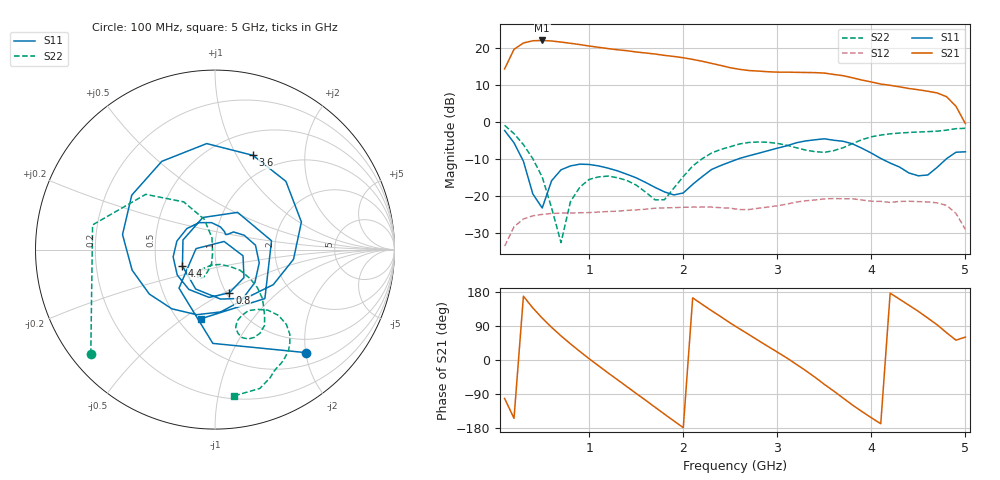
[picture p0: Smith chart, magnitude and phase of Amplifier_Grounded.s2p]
! Touchstone file from project Amplifier
! Exported from Circuit Design 2018.0.0
! Variables:
!  $width = 2.99067mm
# GHZ S MA R 50.000000
! Modal data exported
! Port[1] = Port1
! Port[2] = Port2
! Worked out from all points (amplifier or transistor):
!   50 points, 100 MHz to 5 GHz, reference 50 ohm
!   highest |S21| = 22.1 dB at 500 MHz (marker M1)
!   |S21| within 3 dB of that: 188.9 MHz to 1.463 GHz (1.274 GHz wide, 154 % of centre)
!   unconditionally stable (mu >= 1): start of sweep to end of sweep
!   at 900 MHz: K = 1.05, MAG = 21.5 dB, |S12| = -24.6 dB
!   at 2.6 GHz: K = 1.24, MAG = 16.1 dB, |S12| = -23.8 dB
!   at 5 GHz: K = 3.92, MAG = 5.5 dB, |S12| = -29.1 dB
!   S11 on the Smith chart (normalised r, x): 100 MHz: 0.72, -2.01; 800 MHz: 1.03, -0.53; 3.6 GHz: 0.76, +1.17; 4.4 GHz: 0.68, -0.13; 5 GHz: 0.64, -0.59
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0.1  0.7671 -48.5  5.268 -101.5  0.02066 87.2  0.9039 -140.0
! Port Impedance50 0 50 0
0.2  0.5227 -91.3  9.706 -154.0  0.03785 42.6  0.6958 168.6
0.3  0.2937 -133.1  11.83 168.4  0.04832 12.5  0.4937 141.4
0.4  0.1058 177.0  12.69 137.4  0.05335 -10.6  0.3176 123.2
0.5  0.06811 41.7  12.81 110.5  0.05576 -30.3  0.1794 109.5
0.6  0.1599 -12.5  12.6 86.1  0.05738 -48.0  0.06793 104.3
0.8  0.2535 -71.6  11.72 42.7  0.05843 -78.7  0.08301 -103.6
1  0.2655 -123.3  10.76 3.2  0.05911 -106.2  0.1666 -112.4
1.2  0.2368 -170.0  9.93 -34.0  0.06106 -132.9  0.1846 -120.7
1.4  0.1957 143.2  9.305 -70.3  0.06325 -159.5  0.161 -125.3
1.6  0.1513 97.1  8.653 -106.3  0.06561 174.1  0.1117 -117.7
1.8  0.1126 61.3  8.034 -142.9  0.06846 145.7  0.08826 -69.3
2  0.109 50.6  7.456 -178.6  0.06972 116.9  0.1815 -39.4
2.2  0.181 26.3  6.692 147.0  0.07004 89.8  0.3168 -41.9
2.6  0.3211 -63.3  5.189 82.1  0.06476 38.6  0.5048 -56.9
3  0.4419 -145.9  4.76 20.9  0.07304 -11.1  0.5133 -72.9
3.4  0.5742 121.1  4.687 -45.4  0.0874 -67.9  0.3964 -68.1
3.6  0.566 68.1  4.425 -82.0  0.09149 -100.5  0.4089 -54.5
3.9  0.4407 -7.0  3.713 -136.0  0.08746 -147.2  0.5768 -46.4
4.2  0.2774 -83.6  3.149 176.4  0.08107 170.8  0.6923 -53.6
4.4  0.2034 -153.2  2.852 144.5  0.08414 143.4  0.7222 -57.8
5  0.3946 -101.8  0.9501 60.4  0.0349 70.2  0.8219 -82.6
